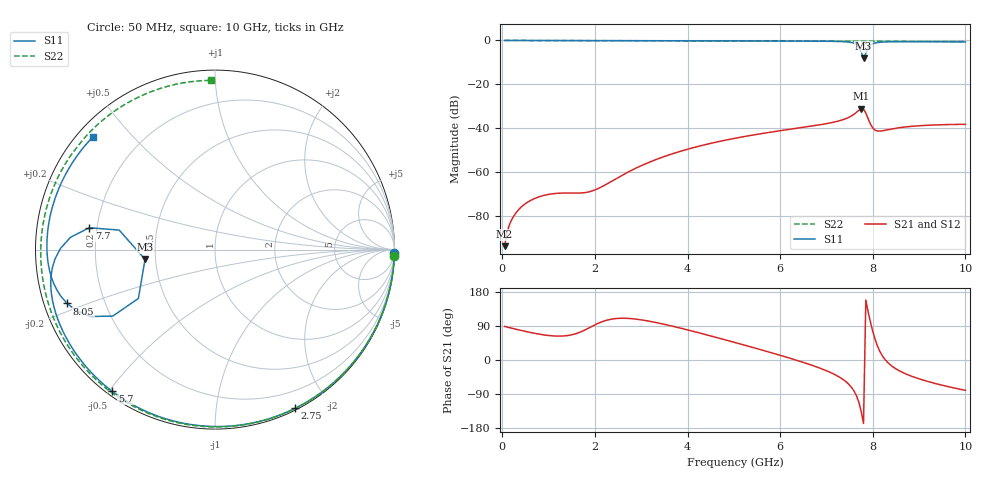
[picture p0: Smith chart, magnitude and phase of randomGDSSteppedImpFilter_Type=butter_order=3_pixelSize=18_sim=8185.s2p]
! freq	dB(S11)	phase(S11)	dB(S12)	phase(S12)
!  dB(S21)	phase(S21)	dB(S22)	phase(S22)
!S-par simulation data
#  GHz  S  DB  R 50
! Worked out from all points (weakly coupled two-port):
!   200 points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, 50 MHz to 10 GHz, reference 50 ohm
!   highest |S21| = -31.18 dB at 7.75 GHz (marker M1); lowest = -94.0 dB at 50 MHz (marker M2)
!   lowest |S11| = -8.1 dB at 7.8 GHz (marker M3), VSWR 2.30, Z = 21.8 - j2.8 ohm
!   |S11| at or under -10 dB: nowhere
!   |S22| runs from -0.5 to 0.0 dB; largest |S21 - S12| = 0
!   S11 on the Smith chart (normalised r, x): 50 MHz: 0, -96; 2.75 GHz: 0.02, -1.63; 5.7 GHz: 0.02, -0.51; 7.7 GHz: 0.17, +0.08; 8.05 GHz: 0.07, -0.18; 10 GHz: 0.04, +0.39
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0.05  -0.00 -1.2  -93.98 88.6  -93.98 88.6  -0.00 -1.9
0.25  -0.01 -5.9  -80.14 82.5  -80.14 82.5  -0.01 -9.5
0.5  -0.02 -11.8  -74.54 75.4  -74.54 75.4  -0.03 -18.8
0.85  -0.03 -20.0  -71.05 67.1  -71.05 67.1  -0.04 -31.8
1.75  -0.05 -40.8  -69.59 77.2  -69.59 77.2  -0.08 -63.3
2.05  -0.06 -47.6  -67.86 95.7  -67.86 95.7  -0.09 -73.2
2.75  -0.08 -63.2  -59.76 109.5  -59.76 109.5  -0.11 -94.8
3.4  -0.10 -77.3  -53.77 96.8  -53.77 96.8  -0.13 -113.2
5.05  -0.17 -112.2  -44.58 45.3  -44.58 45.3  -0.20 -154.5
5.7  -0.22 -125.9  -42.20 23.1  -42.20 23.1  -0.23 -169.4
6.7  -0.31 -148.2  -39.05 -14.5  -39.05 -14.5  -0.29 168.2
7.45  -0.68 -171.1  -35.44 -60.3  -35.44 -60.3  -0.34 151.5
7.6  -1.29 179.6  -33.64 -82.8  -33.64 -82.8  -0.35 148.1
7.7  -2.96 170.1  -31.88 -111.8  -31.88 -111.8  -0.36 145.8
7.75  -5.28 168.5  -31.18 -135.7  -31.18 -135.7  -0.37 144.7
7.8  -8.10 -172.1  -31.40 -167.4  -31.40 -167.4  -0.38 143.6
7.85  -5.92 -147.5  -33.14 158.2  -33.14 158.2  -0.38 142.5
7.9  -3.36 -147.0  -35.74 127.2  -35.74 127.2  -0.38 141.4
8.05  -1.14 -160.0  -40.97 54.6  -40.97 54.6  -0.38 138.0
8.35  -0.62 -174.1  -40.66 -9.7  -40.66 -9.7  -0.40 131.1
9.15  -0.58 162.0  -38.78 -55.3  -38.78 -55.3  -0.45 112.2
10  -0.67 137.3  -38.31 -80.0  -38.31 -80.0  -0.51 91.3
